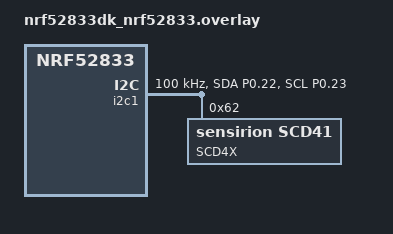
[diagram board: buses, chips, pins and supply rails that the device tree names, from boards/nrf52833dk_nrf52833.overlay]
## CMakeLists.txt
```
cmake_minimum_required(VERSION 3.10.0)
find_package(Zephyr REQUIRED HINTS $ENV{ZEPHYR_BASE})
project(CO2_Monitor)
target_sources(app PRIVATE src/main.c)
```

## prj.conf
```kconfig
# I2C
CONFIG_I2C=y

# Logging
CONFIG_LOG=y

# Print
CONFIG_CONSOLE=y
CONFIG_PRINTK=y

# Sensor
CONFIG_SENSOR=y
CONFIG_SCD4X=y
```

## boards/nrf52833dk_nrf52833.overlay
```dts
#include <zephyr/dt-bindings/pinctrl/nrf-pinctrl.h>
#include <zephyr/dt-bindings/i2c/i2c.h>

//I2C
&pinctrl{
    i2c1_default: i2c1_default {
        group1 {
            psels = <NRF_PSEL(TWIM_SDA, 0, 22)>,
                    <NRF_PSEL(TWIM_SCL, 0, 23)>;
        };
    };
    i2c1_sleep: i2c1_sleep {
        group1 {
            psels = <NRF_PSEL(TWIM_SDA, 0, 22)>,
                    <NRF_PSEL(TWIM_SCL, 0, 23)>;
            low-power-enable;
        };
    };
};

&i2c1 {
    compatible = "nordic,nrf-twim";
    status = "okay";
    clock-frequency = <I2C_BITRATE_STANDARD>;

    pinctrl-0 = <&i2c1_default>;
    pinctrl-1 = <&i2c1_sleep>;
    pinctrl-names = "default", "sleep";

    scd41: scd4x@62 {
        compatible = "sensirion,scd41";
        reg = <0x62>;
        label = "SCD4X";
        mode = <0>;  
    };
};
```

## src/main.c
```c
#include <zephyr/kernel.h>
#include <zephyr/device.h>
#include <zephyr/drivers/sensor.h>
#include <zephyr/logging/log.h>
#include <zephyr/sys/printk.h>

LOG_MODULE_REGISTER(main, LOG_LEVEL_INF);

#define SCD41_NODE DT_NODELABEL(scd41)
#define ATM_PR_MMHG 760.0 // Atmospheric pressure (standard)


int main(void)
{
    struct sensor_value co2, temp, humidity;
    const struct device *scd41 = DEVICE_DT_GET(SCD41_NODE);

if (!device_is_ready(scd41)) {
		printk("SCD41 not ready\n");
		return -ENODEV;
	}

printk("Sensor ready: %s\n", scd41->name);

while (1) {
		/* Fetch sensor data */
		int rc = sensor_sample_fetch(scd41);
		if (rc != 0) {
			LOG_ERR("Failed to fetch sensor data: %d\n", rc);
			k_msleep(1000);
			continue;
		}

		sensor_channel_get(scd41, SENSOR_CHAN_CO2, &co2);
		sensor_channel_get(scd41, SENSOR_CHAN_AMBIENT_TEMP, &temp);
		sensor_channel_get(scd41, SENSOR_CHAN_HUMIDITY, &humidity);

		double co2_ppm = co2.val1 + (co2.val2 / 1000000.0);
		double co2_mmhg = (co2_ppm/1000000.0) * ATM_PR_MMHG;

		int mmhg_int = (int)co2_mmhg;
		int mmhg_frac = (int)((co2_mmhg - mmhg_int) * 10000);

		LOG_INF("CO2: %d.%d ppm | Temp: %d.%d°C | Humidity: %d.%d%% | CO2: %d.%04d mmHg\n",
			co2.val1, co2.val2 / 100000,
			temp.val1, temp.val2 / 100000,
			humidity.val1, humidity.val2 / 100000,
			mmhg_int, mmhg_frac);

		k_msleep(5000);
	}

	return 0;
}
```
